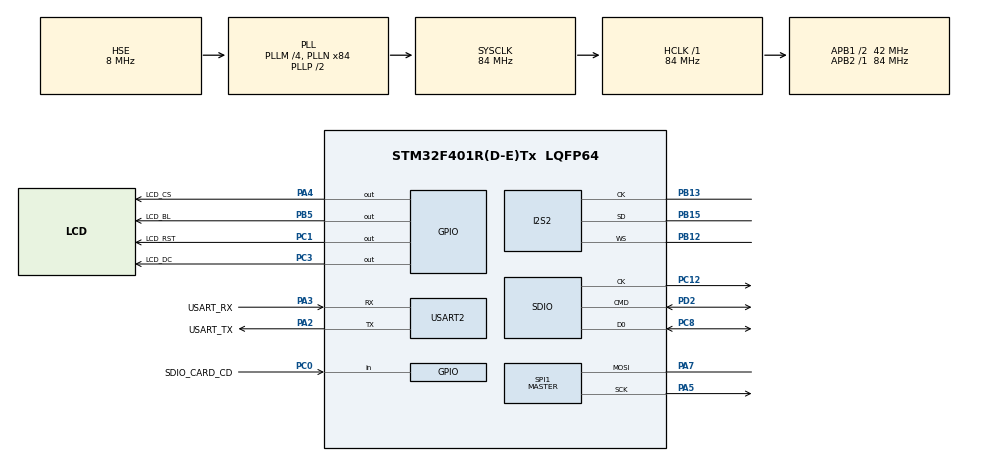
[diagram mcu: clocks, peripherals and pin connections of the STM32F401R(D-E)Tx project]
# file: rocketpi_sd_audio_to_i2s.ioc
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Dma.Request0=SPI1_TX
Dma.Request1=SDIO_RX
Dma.Request2=SDIO_TX
Dma.Request3=SPI2_TX
Dma.SDIO_RX.1.Direction=DMA_PERIPH_TO_MEMORY
Dma.SDIO_RX.1.FIFOMode=DMA_FIFOMODE_ENABLE
Dma.SDIO_RX.1.FIFOThreshold=DMA_FIFO_THRESHOLD_FULL
Dma.SDIO_RX.1.Instance=DMA2_Stream6
Dma.SDIO_RX.1.MemBurst=DMA_MBURST_INC4
Dma.SDIO_RX.1.MemDataAlignment=DMA_MDATAALIGN_WORD
Dma.SDIO_RX.1.MemInc=DMA_MINC_ENABLE
Dma.SDIO_RX.1.Mode=DMA_PFCTRL
Dma.SDIO_RX.1.PeriphBurst=DMA_PBURST_INC4
Dma.SDIO_RX.1.PeriphDataAlignment=DMA_PDATAALIGN_WORD
Dma.SDIO_RX.1.PeriphInc=DMA_PINC_DISABLE
Dma.SDIO_RX.1.Priority=DMA_PRIORITY_VERY_HIGH
Dma.SDIO_TX.2.Direction=DMA_MEMORY_TO_PERIPH
Dma.SDIO_TX.2.FIFOMode=DMA_FIFOMODE_ENABLE
Dma.SDIO_TX.2.FIFOThreshold=DMA_FIFO_THRESHOLD_FULL
Dma.SDIO_TX.2.Instance=DMA2_Stream3
Dma.SDIO_TX.2.MemBurst=DMA_MBURST_INC4
Dma.SDIO_TX.2.MemDataAlignment=DMA_MDATAALIGN_WORD
Dma.SDIO_TX.2.MemInc=DMA_MINC_ENABLE
Dma.SDIO_TX.2.Mode=DMA_PFCTRL
Dma.SDIO_TX.2.PeriphBurst=DMA_PBURST_INC4
Dma.SDIO_TX.2.PeriphDataAlignment=DMA_PDATAALIGN_WORD
Dma.SDIO_TX.2.PeriphInc=DMA_PINC_DISABLE
Dma.SDIO_TX.2.Priority=DMA_PRIORITY_VERY_HIGH
Dma.SPI1_TX.0.Direction=DMA_MEMORY_TO_PERIPH
Dma.SPI1_TX.0.FIFOMode=DMA_FIFOMODE_DISABLE
Dma.SPI1_TX.0.Instance=DMA2_Stream5
Dma.SPI1_TX.0.MemDataAlignment=DMA_MDATAALIGN_BYTE
Dma.SPI1_TX.0.MemInc=DMA_MINC_ENABLE
Dma.SPI1_TX.0.Mode=DMA_NORMAL
Dma.SPI1_TX.0.PeriphDataAlignment=DMA_PDATAALIGN_BYTE
Dma.SPI1_TX.0.PeriphInc=DMA_PINC_DISABLE
Dma.SPI1_TX.0.Priority=DMA_PRIORITY_HIGH
Dma.SPI2_TX.3.Direction=DMA_MEMORY_TO_PERIPH
Dma.SPI2_TX.3.FIFOMode=DMA_FIFOMODE_DISABLE
Dma.SPI2_TX.3.Instance=DMA1_Stream4
Dma.SPI2_TX.3.MemDataAlignment=DMA_MDATAALIGN_HALFWORD
Dma.SPI2_TX.3.MemInc=DMA_MINC_ENABLE
Dma.SPI2_TX.3.Mode=DMA_NORMAL
Dma.SPI2_TX.3.PeriphDataAlignment=DMA_PDATAALIGN_HALFWORD
Dma.SPI2_TX.3.PeriphInc=DMA_PINC_DISABLE
Dma.SPI2_TX.3.Priority=DMA_PRIORITY_LOW
FATFS.BSP.number=1
FATFS.USE_DMA_CODE_SD=1
FATFS._LFN_UNICODE=0
FATFS._MAX_LFN=64
FATFS._STRF_ENCODE=3
FATFS._USE_LFN=2
FATFS0.BSP.STBoard=false
FATFS0.BSP.api=Unknown
FATFS0.BSP.instance=PC0
FATFS0.BSP.ip=GPIO
FATFS0.BSP.mode=Input
FATFS0.BSP.name=Detect_SDIO
FATFS0.BSP.solution=PC0
I2S2.AudioFreq=I2S_AUDIOFREQ_16K
I2S2.ErrorAudioFreq=0.0 %
I2S2.FullDuplexMode=I2S_FULLDUPLEXMODE_DISABLE
I2S2.Instance=SPI$Index
I2S2.RealAudioFreq=16.0 KHz
I2S2.VirtualMode=I2S_MODE_MASTER
Mcu.Family=STM32F4
Mcu.Name=STM32F401R(D-E)Tx
Mcu.Package=LQFP64
NVIC.DMA1_Stream4_IRQn=true\:0\:0\:false\:false\:true\:false\:true\:true
NVIC.DMA2_Stream3_IRQn=true\:0\:0\:false\:false\:true\:false\:true\:true
NVIC.DMA2_Stream5_IRQn=true\:0\:0\:true\:false\:true\:false\:true\:true
NVIC.DMA2_Stream6_IRQn=true\:0\:0\:false\:false\:true\:false\:true\:true
NVIC.PriorityGroup=NVIC_PRIORITYGROUP_4
NVIC.SDIO_IRQn=true\:0\:0\:false\:false\:true\:true\:true\:true
NVIC.SPI1_IRQn=true\:0\:0\:true\:false\:true\:true\:true\:true
NVIC.SPI2_IRQn=true\:1\:0\:true\:false\:true\:true\:true\:true
PA13.GPIO_Label=TMS
PA13.Mode=Serial_Wire
PA13.Signal=SYS_JTMS-SWDIO
PA14.GPIO_Label=TCK
PA14.Mode=Serial_Wire
PA14.Signal=SYS_JTCK-SWCLK
PA2.GPIO_Label=USART_TX
PA2.GPIO_Mode=GPIO_MODE_AF_PP
PA2.GPIO_PuPd=GPIO_NOPULL
PA2.GPIO_Speed=GPIO_SPEED_FREQ_LOW
PA2.Mode=Asynchronous
PA2.Signal=USART2_TX
PA3.GPIO_Label=USART_RX
PA3.GPIO_Mode=GPIO_MODE_AF_PP
PA3.GPIO_PuPd=GPIO_NOPULL
PA3.GPIO_Speed=GPIO_SPEED_FREQ_LOW
PA3.Mode=Asynchronous
PA3.Signal=USART2_RX
PA4.GPIO_Label=LCD_CS
PA4.GPIO_Speed=GPIO_SPEED_FREQ_VERY_HIGH
PA4.PinState=GPIO_PIN_SET
PA4.Signal=GPIO_Output
PA5.Mode=Simplex_Bidirectional_Master
PA5.Signal=SPI1_SCK
PA7.Mode=Simplex_Bidirectional_Master
PA7.Signal=SPI1_MOSI
PB12.GPIO_Speed=GPIO_SPEED_FREQ_VERY_HIGH
PB12.Mode=Half_Duplex_Master
PB12.Signal=I2S2_WS
PB13.GPIO_Speed=GPIO_SPEED_FREQ_VERY_HIGH
PB13.Mode=Half_Duplex_Master
PB13.Signal=I2S2_CK
PB15.GPIO_Speed=GPIO_SPEED_FREQ_VERY_HIGH
PB15.Mode=Half_Duplex_Master
PB15.Signal=I2S2_SD
PB5.GPIO_Label=LCD_BL
PB5.Signal=GPIO_Output
PC0.GPIO_Label=SDIO_CARD_CD
PC0.Signal=GPIO_Input
PC1.GPIO_Label=LCD_RST
PC1.Signal=GPIO_Output
PC12.GPIO_PuPd=GPIO_PULLUP
PC12.Mode=SD_1_bit
PC12.Signal=SDIO_CK
PC3.GPIO_Label=LCD_DC
PC3.Signal=GPIO_Output
PC8.GPIO_PuPd=GPIO_PULLUP
PC8.Mode=SD_1_bit
PC8.Signal=SDIO_D0
PD2.GPIO_PuPd=GPIO_PULLUP
PD2.Mode=SD_1_bit
PD2.Signal=SDIO_CMD
PH0\ -\ OSC_IN.Mode=HSE-External-Oscillator
PH0\ -\ OSC_IN.Signal=RCC_OSC_IN
PH1\ -\ OSC_OUT.Mode=HSE-External-Oscillator
PH1\ -\ OSC_OUT.Signal=RCC_OSC_OUT
ProjectManager.HeapSize=0x1000
ProjectManager.StackSize=0x1000
ProjectManager.TargetToolchain=MDK-ARM V5.27
RCC.48MHZClocksFreq_Value=24000000
RCC.AHBFreq_Value=84000000
RCC.APB1CLKDivider=RCC_HCLK_DIV2
RCC.APB1Freq_Value=42000000
RCC.APB1TimFreq_Value=84000000
RCC.APB2Freq_Value=84000000
RCC.APB2TimFreq_Value=84000000
RCC.CortexFreq_Value=84000000
RCC.HCLKFreq_Value=84000000
RCC.HSE_VALUE=8000000
RCC.HSI_VALUE=16000000
RCC.LSE_VALUE=32768
RCC.PLLI2SN=128
RCC.PLLI2SR=5
RCC.PLLM=4
RCC.PLLN=84
RCC.PLLQ=7
RCC.PLLSourceVirtual=RCC_PLLSOURCE_HSE
RCC.SYSCLKFreq_VALUE=84000000
RCC.SYSCLKSource=RCC_SYSCLKSOURCE_PLLCLK
RCC.VCOOutputFreq_Value=168000000
SDIO.ClockDiv=0
SPI1.BaudRatePrescaler=SPI_BAUDRATEPRESCALER_2
SPI1.DataSize=SPI_DATASIZE_8BIT
SPI1.Direction=SPI_DIRECTION_1LINE
SPI1.Mode=SPI_MODE_MASTER
SPI1.VirtualType=VM_MASTER
USART2.VirtualMode=VM_ASYNC
VP_CRC_VS_CRC.Mode=CRC_Activate
VP_FATFS_VS_SDIO.Mode=SDIO
board=NUCLEO-F401RE

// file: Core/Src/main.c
/* USER CODE BEGIN Header */
/**
  ******************************************************************************
  * @file           : main.c
  * @brief          : Main program body
  ******************************************************************************
  * @attention
  *
  * Copyright (c) 2025 STMicroelectronics.
  * All rights reserved.
  *
  * This software is licensed under terms that can be found in the LICENSE file
  * in the root directory of this software component.
  * If no LICENSE file comes with this software, it is provided AS-IS.
  *
  ******************************************************************************
  */
/* USER CODE END Header */
#include "main.h"
#include "crc.h"
#include "dma.h"
#include "fatfs.h"
#include "i2s.h"
#include "sdio.h"
#include "spi.h"
#include "usart.h"
#include "gpio.h"

/* USER CODE BEGIN Includes */
#include <ctype.h>
#include <stdbool.h>
#include <stdarg.h>
#include <math.h>
#include <stdio.h>
#include <string.h>
#include "audio.h"
#include "st7789.h"
/* USER CODE END Includes */

/* USER CODE BEGIN PTD */
typedef enum
{
  AUDIO_PLAYBACK_STATE_IDLE = 0,
  AUDIO_PLAYBACK_STATE_RUNNING,
  AUDIO_PLAYBACK_STATE_DONE,
  AUDIO_PLAYBACK_STATE_ERROR
} audio_playback_state_t;

typedef struct
{
  uint32_t next_index;
  uint32_t samples_remaining;
  audio_playback_state_t state;
} audio_playback_ctrl_t;

typedef enum
{
  AUDIO_SD_STATE_IDLE = 0,
  AUDIO_SD_STATE_PLAYING,
  AUDIO_SD_STATE_DONE,
  AUDIO_SD_STATE_ERROR
} audio_sd_state_t;

typedef struct
{
  FIL file;
  UINT half_bytes;
  UINT frame_bytes;
  UINT bytes_next;
  uint8_t *buf0;
  uint8_t *buf1;
  uint8_t *read_buf;
  uint8_t mounted;
  uint8_t file_opened;
  audio_sd_state_t state;
  FRESULT last_res;
  HAL_StatusTypeDef last_hal;
} audio_sd_playback_t;
/* USER CODE END PTD */

/* USER CODE BEGIN PD */
#ifndef _USE_MKFS
#define _USE_MKFS 1
#endif

#if (_USE_MKFS == 1)
#define FATFS_MKFS_BUFFER_SIZE 4096U
#endif
#define FATFS_SPEED_TEST_BUFFER_SIZE 4096U

#define AUDIO_DMA_MAX_TRANSFER_SAMPLES 65535U
#define AUDIO_FILE_DIRECTORY        "audio"
#define AUDIO_FILE_NAME             "audio.bin"
#define AUDIO_FILE_PATH_MAX         64U
#define AUDIO_STREAM_BUFFER_BYTES   5120U

#define AUDIO_VOLUME_PERCENT        100U   /* 0-100%，用于数字音量缩放 */
#define AUDIO_VOLUME_BUFFER_SAMPLES 2048U  /* 内置音轨播放时的临时缓冲区大小（采样数） */

#define SPECTRUM_BIN_COUNT          40U
#define SPECTRUM_WINDOW_FRAMES      256U
#define SPECTRUM_DRAW_INTERVAL_MS   40U
#define SPECTRUM_MAX_HEIGHT         (ST7789_HIGHT - 10U)
#define SPECTRUM_BAR_GAP            2U
#define SPECTRUM_SMOOTH_ALPHA       0.30f
#define SPECTRUM_DECAY_ALPHA        0.90f
#define SPECTRUM_PEAK_INIT          2000.0f
#ifndef M_PI
#define M_PI                        3.1415926f
#endif
/* USER CODE END PD */

/* USER CODE BEGIN PV */
static volatile audio_playback_ctrl_t audio_ctrl = {0};
static uint16_t audio_sd_buffer[AUDIO_STREAM_BUFFER_BYTES / sizeof(uint16_t)];
static audio_sd_playback_t audio_sd_ctx = {0};
static volatile uint8_t audio_stream_from_sd = 0U;
static volatile uint8_t audio_sd_dma_done = 0U;
/* 记录当前 I2S 外设是否已经初始化并处于工作状态 */
static uint8_t audio_output_active = 0U;
static uint16_t audio_volume_q15 = 0U;
static int16_t audio_volume_buffer[AUDIO_VOLUME_BUFFER_SAMPLES];
static float spectrum_coeff[SPECTRUM_BIN_COUNT];
static float spectrum_smooth[SPECTRUM_BIN_COUNT];
static uint16_t spectrum_levels[SPECTRUM_BIN_COUNT];
static float spectrum_peak_avg = SPECTRUM_PEAK_INIT;
static uint32_t spectrum_last_draw_ms = 0U;
typedef struct
{
  float pos;
  uint16_t color;
} spectrum_stop_t;
static const spectrum_stop_t spectrum_gradient[] = {
  {0.0f, BLUE},
  {0.25f, CYAN},
  {0.50f, GREEN},
  {0.75f, YELLOW},
  {1.0f, RED}
};
/* USER CODE END PV */

void SystemClock_Config(void);
/* USER CODE BEGIN PFP */
static void fatfs_speed_test(uint32_t kilobytes);
static HAL_StatusTypeDef audio_start_next_chunk(void);
static void audio_sd_stop_and_cleanup(void);
static FRESULT audio_sd_start_playback(const char *directory,
                                      const char *file_name,
                                      uint8_t *work_buffer,
                                      UINT work_buffer_bytes);
static void audio_sd_process_playback(void);
static void audio_output_force_idle(void);
static void audio_output_ensure_enabled(void);
static void spectrum_init(void);
static void spectrum_update_from_buffer(const int16_t *samples, size_t sample_count);
static void spectrum_draw_if_due(void);
static uint16_t spectrum_lerp_color(uint16_t c0, uint16_t c1, float t);
static uint16_t spectrum_color_for_bin(uint32_t index);
static uint16_t audio_compute_volume_q15(void);
static int16_t audio_apply_volume_to_sample(int16_t sample, uint16_t gain_q15);
static void audio_apply_volume_to_buffer(int16_t *buffer, size_t samples, uint16_t gain_q15);
/* USER CODE END PFP */

/* USER CODE BEGIN 0 */
/* 将 I2S/DMA 完全停止并把引脚拉至静音状态 */
static void audio_output_force_idle(void)
{
  (void)HAL_I2S_DMAStop(&hi2s2);

  if (audio_output_active)
  {
    (void)HAL_I2S_DeInit(&hi2s2);
    audio_output_active = 0U;
  }

  __HAL_RCC_GPIOB_CLK_ENABLE();
  GPIO_InitTypeDef GPIO_InitStruct = {0};
  GPIO_InitStruct.Pin = GPIO_PIN_12 | GPIO_PIN_13 | GPIO_PIN_15;
  GPIO_InitStruct.Mode = GPIO_MODE_OUTPUT_PP;
  GPIO_InitStruct.Pull = GPIO_PULLDOWN;
  GPIO_InitStruct.Speed = GPIO_SPEED_FREQ_LOW;
  HAL_GPIO_Init(GPIOB, &GPIO_InitStruct);
  HAL_GPIO_WritePin(GPIOB, GPIO_PIN_12 | GPIO_PIN_13 | GPIO_PIN_15, GPIO_PIN_RESET);
}

/* 若 I2S 处于关闭状态则重新初始化供输出使用 */
static void audio_output_ensure_enabled(void)
{
  if (audio_output_active)
  {
    return;
  }

  MX_I2S2_Init();
  audio_output_active = 1U;
}

static uint16_t audio_compute_volume_q15(void)
{
  uint32_t percent = AUDIO_VOLUME_PERCENT;
  if (percent > 100U)
  {
    percent = 100U;
  }

  return (uint16_t)(((percent * 32767U) + 50U) / 100U);
}

static int16_t audio_apply_volume_to_sample(int16_t sample, uint16_t gain_q15)
{
  int32_t scaled = (int32_t)sample * (int32_t)gain_q15;
  scaled += (1 << 14); /* 四舍五入 */
  scaled >>= 15;

  if (scaled > 32767)
  {
    scaled = 32767;
  }
  else if (scaled < -32768)
  {
    scaled = -32768;
  }

  return (int16_t)scaled;
}

static void audio_apply_volume_to_buffer(int16_t *buffer, size_t samples, uint16_t gain_q15)
{
  if ((buffer == NULL) || (samples == 0U))
  {
    return;
  }

  if (gain_q15 == 0U)
  {
    memset(buffer, 0, samples * sizeof(int16_t));
    return;
  }

  if (gain_q15 >= 32767U)
  {
    return; /* 100% 音量，无需处理 */
  }

  for (size_t i = 0U; i < samples; ++i)
  {
    buffer[i] = audio_apply_volume_to_sample(buffer[i], gain_q15);
  }
}

static HAL_StatusTypeDef audio_start_next_chunk(void)
{
  if (audio_ctrl.samples_remaining == 0U)
  {
    audio_ctrl.state = AUDIO_PLAYBACK_STATE_DONE;
    return HAL_OK;
  }

  uint32_t chunk_limit = (AUDIO_VOLUME_BUFFER_SAMPLES < AUDIO_DMA_MAX_TRANSFER_SAMPLES) ?
                         AUDIO_VOLUME_BUFFER_SAMPLES :
                         AUDIO_DMA_MAX_TRANSFER_SAMPLES;
  uint32_t chunk = (audio_ctrl.samples_remaining > chunk_limit) ?
                   chunk_limit :
                   audio_ctrl.samples_remaining;

  const int16_t *chunk_ptr = (const int16_t *)&audio_track[audio_ctrl.next_index];
  memcpy(audio_volume_buffer, chunk_ptr, chunk * sizeof(int16_t));
  audio_apply_volume_to_buffer(audio_volume_buffer, chunk, audio_volume_q15);
  HAL_StatusTypeDef status = HAL_I2S_Transmit_DMA(&hi2s2,
                                                  (uint16_t *)audio_volume_buffer,
                                                  (uint16_t)chunk);

  if (status == HAL_OK)
  {
    audio_ctrl.next_index += chunk;
    audio_ctrl.samples_remaining -= chunk;
    audio_ctrl.state = AUDIO_PLAYBACK_STATE_RUNNING;
  }

  return status;
}

/* stop_output=1 时连同 I2S 一起关闭，0 仅重置文件/缓存状态 */
static void audio_sd_stop_and_cleanup_ex(uint8_t stop_output)
{
  if (stop_output)
  {
    audio_output_force_idle();
  }

  if (audio_sd_ctx.file_opened)
  {
    f_close(&audio_sd_ctx.file);
    audio_sd_ctx.file_opened = 0U;
  }

  if (audio_sd_ctx.mounted)
  {
    f_mount(NULL, (TCHAR const*)SDPath, 0);
    audio_sd_ctx.mounted = 0U;
  }

  audio_stream_from_sd = 0U;
}

static void audio_sd_stop_and_cleanup(void)
{
  audio_sd_stop_and_cleanup_ex(1U);
}

static FRESULT audio_sd_start_playback(const char *directory,
                                      const char *file_name,
                                      uint8_t *work_buffer,
                                      UINT work_buffer_bytes)
{
  audio_volume_q15 = audio_compute_volume_q15();
  const UINT frame_bytes = (UINT)(AUDIO_NUM_CHANNELS * sizeof(int16_t));
  if ((work_buffer == NULL) ||
      (work_buffer_bytes < (2U * frame_bytes)) ||
      ((work_buffer_bytes % frame_bytes) != 0U))
  {
    return FR_INVALID_PARAMETER;
  }

  if (audio_sd_ctx.state == AUDIO_SD_STATE_PLAYING)
  {
    return FR_LOCKED;
  }

  audio_sd_stop_and_cleanup_ex(0U); /* 仅重置 FatFs 句柄，保留 I2S 以便随后立即启动播放 */
  memset(&audio_sd_ctx, 0, sizeof(audio_sd_ctx));

  UINT half_bytes = work_buffer_bytes / 2U;
  const UINT max_bytes = AUDIO_DMA_MAX_TRANSFER_SAMPLES * sizeof(uint16_t);
  if (half_bytes > max_bytes)
  {
    half_bytes = max_bytes;
  }
  const UINT align = (512U > frame_bytes) ? 512U : frame_bytes;
  half_bytes -= (half_bytes % align);
  if (half_bytes == 0U)
  {
    return FR_INVALID_PARAMETER;
  }

  audio_sd_ctx.buf0 = work_buffer;
  audio_sd_ctx.buf1 = work_buffer + half_bytes;
  audio_sd_ctx.read_buf = audio_sd_ctx.buf1;
  audio_sd_ctx.half_bytes = half_bytes;
  audio_sd_ctx.frame_bytes = frame_bytes;
  audio_sd_ctx.state = AUDIO_SD_STATE_IDLE;

  char file_path[AUDIO_FILE_PATH_MAX];
  int written = ((directory != NULL) && (directory[0] != '\0')) ?
                snprintf(file_path, sizeof(file_path), "%s/%s", directory, file_name) :
                snprintf(file_path, sizeof(file_path), "%s", file_name);
  if ((written <= 0) || ((size_t)written >= sizeof(file_path)))
  {
    return FR_INVALID_NAME;
  }

  FRESULT res = f_mount(&SDFatFS, (TCHAR const*)SDPath, 1);
  if (res != FR_OK)
  {
    printf("audio(fs): mount failed (%d)\r\n", (int)res);
    audio_sd_ctx.last_res = res;
    audio_sd_ctx.state = AUDIO_SD_STATE_ERROR;
    return res;
  }
  audio_sd_ctx.mounted = 1U;

  res = f_open(&audio_sd_ctx.file, file_path, FA_READ);
  if (res != FR_OK)
  {
    printf("audio(fs): open %s failed (%d)\r\n", file_path, (int)res);
    audio_sd_ctx.last_res = res;
    audio_sd_ctx.state = AUDIO_SD_STATE_ERROR;
    audio_sd_stop_and_cleanup();
    return res;
  }
  audio_sd_ctx.file_opened = 1U;

  UINT bytes0 = 0U;
  UINT bytes1 = 0U;
  res = f_read(&audio_sd_ctx.file, audio_sd_ctx.buf0, half_bytes, &bytes0);
  if (res != FR_OK)
  {
    printf("audio(fs): first read failed (%d)\r\n", (int)res);
    audio_sd_ctx.last_res = res;
    audio_sd_ctx.state = AUDIO_SD_STATE_ERROR;
    audio_sd_stop_and_cleanup();
    return res;
  }
  bytes0 -= (bytes0 % frame_bytes);
  if (bytes0 > 0U)
  {
    audio_apply_volume_to_buffer((int16_t *)audio_sd_ctx.buf0,
                              bytes0 / sizeof(int16_t),
                              audio_volume_q15);
  }
  if (bytes0 == 0U)
  {
    printf("audio(fs): file empty\r\n");
    audio_sd_ctx.state = AUDIO_SD_STATE_DONE;
    audio_sd_stop_and_cleanup();
    return FR_OK;
  }

  res = f_read(&audio_sd_ctx.file, audio_sd_ctx.buf1, half_bytes, &bytes1);
  if (res != FR_OK)
  {
    printf("audio(fs): second read failed (%d)\r\n", (int)res);
    audio_sd_ctx.last_res = res;
    audio_sd_ctx.state = AUDIO_SD_STATE_ERROR;
    audio_sd_stop_and_cleanup();
    return res;
  }
  bytes1 -= (bytes1 % frame_bytes);
  if (bytes1 > 0U)
  {
    audio_apply_volume_to_buffer((int16_t *)audio_sd_ctx.buf1,
                              bytes1 / sizeof(int16_t),
                              audio_volume_q15);
  }
  audio_sd_ctx.bytes_next = bytes1;

  audio_stream_from_sd = 1U;
  audio_sd_dma_done = 0U;
  audio_output_ensure_enabled(); /* SD 播放准备驱动 DMA 前确保 I2S 已启动 */
  HAL_StatusTypeDef hal = HAL_I2S_Transmit_DMA(&hi2s2,
                                               (uint16_t *)audio_sd_ctx.buf0,
                                               (uint16_t)(bytes0 / sizeof(uint16_t)));
  if (hal != HAL_OK)
  {
    printf("audio(fs): start DMA failed (%ld)\r\n", (long)hal);
    audio_sd_ctx.last_res = FR_INT_ERR;
    audio_sd_ctx.last_hal = hal;
    audio_sd_ctx.state = AUDIO_SD_STATE_ERROR;
    audio_sd_stop_and_cleanup();
    return FR_INT_ERR;
  }

  spectrum_update_from_buffer((const int16_t *)audio_sd_ctx.buf0,
                            bytes0 / sizeof(uint16_t));

  audio_sd_ctx.state = AUDIO_SD_STATE_PLAYING;
  return FR_OK;
}

static void audio_sd_process_playback(void)
{
  if (audio_sd_ctx.state != AUDIO_SD_STATE_PLAYING)
  {
    return;
  }

  if (audio_sd_dma_done == 0U)
  {
    return;
  }
  audio_sd_dma_done = 0U;

  if (audio_sd_ctx.bytes_next == 0U)
  {
    HAL_I2S_DMAStop(&hi2s2);
    audio_sd_ctx.state = AUDIO_SD_STATE_DONE;
    audio_sd_stop_and_cleanup();
    return;
  }

  uint8_t *play_buf = audio_sd_ctx.read_buf;
  UINT play_bytes = audio_sd_ctx.bytes_next;
  audio_sd_ctx.read_buf = (play_buf == audio_sd_ctx.buf0) ? audio_sd_ctx.buf1 : audio_sd_ctx.buf0;
  HAL_StatusTypeDef hal = HAL_I2S_Transmit_DMA(&hi2s2,
                                               (uint16_t *)play_buf,
                                               (uint16_t)(play_bytes / sizeof(uint16_t)));
  if (hal != HAL_OK)
  {
    printf("audio(fs): DMA start failed (%ld)\r\n", (long)hal);
    audio_sd_ctx.last_res = FR_INT_ERR;
    audio_sd_ctx.last_hal = hal;
    audio_sd_ctx.state = AUDIO_SD_STATE_ERROR;
    audio_sd_stop_and_cleanup();
    return;
  }

  spectrum_update_from_buffer((const int16_t *)play_buf, play_bytes / sizeof(uint16_t));

  UINT bytes_read = 0U;
  FRESULT res = f_read(&audio_sd_ctx.file, audio_sd_ctx.read_buf, audio_sd_ctx.half_bytes, &bytes_read);
  if (res != FR_OK)
  {
    printf("audio(fs): read failed (%d)\r\n", (int)res);
    audio_sd_ctx.last_res = res;
    audio_sd_ctx.state = AUDIO_SD_STATE_ERROR;
    audio_sd_stop_and_cleanup();
    HAL_I2S_DMAStop(&hi2s2);
    return;
  }
  bytes_read -= (bytes_read % audio_sd_ctx.frame_bytes);
  if (bytes_read > 0U)
  {
    audio_apply_volume_to_buffer((int16_t *)audio_sd_ctx.read_buf,
                              bytes_read / sizeof(int16_t),
                              audio_volume_q15);
  }
  audio_sd_ctx.bytes_next = bytes_read;
}

static void spectrum_init(void)
{
  const float bin_width_hz = ((float)AUDIO_SAMPLE_RATE_HZ * 0.5f) / (float)SPECTRUM_BIN_COUNT;

  for (uint32_t i = 0U; i < SPECTRUM_BIN_COUNT; ++i)
  {
    float freq = bin_width_hz * (float)(i + 1U);
    float omega = 2.0f * (float)M_PI * freq / (float)AUDIO_SAMPLE_RATE_HZ;
    spectrum_coeff[i] = 2.0f * cosf(omega);
    spectrum_smooth[i] = 0.0f;
    spectrum_levels[i] = 0U;
  }

  spectrum_peak_avg = SPECTRUM_PEAK_INIT;
  spectrum_last_draw_ms = HAL_GetTick();
}

static void spectrum_update_from_buffer(const int16_t *samples, size_t sample_count)
{
  if ((samples == NULL) || (sample_count < AUDIO_NUM_CHANNELS))
  {
    return;
  }

  size_t frames = sample_count / AUDIO_NUM_CHANNELS;
  size_t window = (frames < (size_t)SPECTRUM_WINDOW_FRAMES) ? frames : (size_t)SPECTRUM_WINDOW_FRAMES;
  if (window < 8U)
  {
    return;
  }

  for (uint32_t bin = 0U; bin < SPECTRUM_BIN_COUNT; ++bin)
  {
    float coeff = spectrum_coeff[bin];
    float q0 = 0.0f;
    float q1 = 0.0f;
    float q2 = 0.0f;

    for (size_t n = 0U; n < window; ++n)
    {
      float x = (float)samples[n * AUDIO_NUM_CHANNELS];
      q0 = (coeff * q1) - q2 + x;
      q2 = q1;
      q1 = q0;
    }

    float power = (q1 * q1) + (q2 * q2) - (coeff * q1 * q2);
    if (power < 0.0f)
    {
      power = 0.0f;
    }
    float mag = sqrtf(power) / (float)window;

    spectrum_peak_avg = (SPECTRUM_DECAY_ALPHA * spectrum_peak_avg) +
                        ((1.0f - SPECTRUM_DECAY_ALPHA) * mag);
    float scaled = (mag * (float)SPECTRUM_MAX_HEIGHT) / (spectrum_peak_avg + 1.0f);
    if (scaled < 0.0f)
    {
      scaled = 0.0f;
    }
    if (scaled > (float)SPECTRUM_MAX_HEIGHT)
    {
      scaled = (float)SPECTRUM_MAX_HEIGHT;
    }

    float smooth = (1.0f - SPECTRUM_SMOOTH_ALPHA) * spectrum_smooth[bin] +
                   (SPECTRUM_SMOOTH_ALPHA * scaled);
    spectrum_smooth[bin] = smooth;
    spectrum_levels[bin] = (uint16_t)smooth;
  }
}

static void spectrum_draw_if_due(void)
{
  uint32_t now = HAL_GetTick();
  if ((now - spectrum_last_draw_ms) < SPECTRUM_DRAW_INTERVAL_MS)
  {
    return;
  }
  spectrum_last_draw_ms = now;

  const uint16_t bar_width = ST7789_WIDTH / SPECTRUM_BIN_COUNT;
  uint16_t usable_width = (bar_width > SPECTRUM_BAR_GAP) ? (bar_width - SPECTRUM_BAR_GAP) : bar_width;
  if (usable_width == 0U)
  {
    usable_width = 1U;
  }
  const uint16_t y_base = ST7789_HIGHT - 1U;

  for (uint32_t i = 0U; i < SPECTRUM_BIN_COUNT; ++i)
  {
    uint16_t h = spectrum_levels[i];
    uint16_t x0 = (uint16_t)(i * bar_width);
    x0 = (uint16_t)(x0 + ((bar_width - usable_width) / 2U));
    uint16_t x1 = x0 + usable_width - 1U;
    if (x1 >= ST7789_WIDTH)
    {
      x1 = ST7789_WIDTH - 1U;
    }

    ST7789_FillRect(x0, 0U, x1, y_base, BLACK);

    if (h > 0U)
    {
      uint16_t y0 = (h >= ST7789_HIGHT) ? 0U : (uint16_t)(ST7789_HIGHT - h);
      uint16_t color = spectrum_color_for_bin(i);
      ST7789_FillRect(x0, y0, x1, y_base, color);
    }
  }
}

static uint16_t spectrum_lerp_color(uint16_t c0, uint16_t c1, float t)
{
  if (t < 0.0f) t = 0.0f;
  if (t > 1.0f) t = 1.0f;

  float r0 = (float)((c0 >> 11) & 0x1FU);
  float g0 = (float)((c0 >> 5) & 0x3FU);
  float b0 = (float)(c0 & 0x1FU);

  float r1 = (float)((c1 >> 11) & 0x1FU);
  float g1 = (float)((c1 >> 5) & 0x3FU);
  float b1 = (float)(c1 & 0x1FU);

  float r = r0 + (r1 - r0) * t;
  float g = g0 + (g1 - g0) * t;
  float b = b0 + (b1 - b0) * t;

  uint16_t ri = (uint16_t)(r + 0.5f);
  uint16_t gi = (uint16_t)(g + 0.5f);
  uint16_t bi = (uint16_t)(b + 0.5f);

  if (ri > 0x1F) ri = 0x1F;
  if (gi > 0x3F) gi = 0x3F;
  if (bi > 0x1F) bi = 0x1F;

  return (uint16_t)((ri << 11) | (gi << 5) | bi);
}

static uint16_t spectrum_color_for_bin(uint32_t index)
{
  const size_t stop_count = sizeof(spectrum_gradient) / sizeof(spectrum_gradient[0]);
  if (stop_count == 0U)
  {
    return WHITE;
  }

  float t = (SPECTRUM_BIN_COUNT > 1U) ?
            ((float)index / (float)(SPECTRUM_BIN_COUNT - 1U)) : 0.0f;
  if (t <= spectrum_gradient[0].pos)
  {
    return spectrum_gradient[0].color;
  }
  if (t >= spectrum_gradient[stop_count - 1U].pos)
  {
    return spectrum_gradient[stop_count - 1U].color;
  }

  for (size_t i = 0U; i < (stop_count - 1U); ++i)
  {
    float p0 = spectrum_gradient[i].pos;
    float p1 = spectrum_gradient[i + 1U].pos;
    if ((t >= p0) && (t <= p1))
    {
      float local_t = (p1 > p0) ? ((t - p0) / (p1 - p0)) : 0.0f;
      return spectrum_lerp_color(spectrum_gradient[i].color,
                                spectrum_gradient[i + 1U].color,
                                local_t);
    }
  }

  return spectrum_gradient[stop_count - 1U].color;
}
/* USER CODE END 0 */

int main(void)
{

  /* MCU Configuration--------------------------------------------------------*/

  /* Reset of all peripherals, Initializes the Flash interface and the Systick. */
  HAL_Init();

  /* Configure the system clock */
  SystemClock_Config();

  /* Initialize all configured peripherals */
  MX_GPIO_Init();
  MX_DMA_Init();
  MX_USART2_UART_Init();
  MX_SPI1_Init();
  MX_SDIO_SD_Init();
  MX_FATFS_Init();
  MX_CRC_Init();
  MX_I2S2_Init();
  /* USER CODE BEGIN 2 */
  audio_output_active = 1U;
  audio_output_force_idle(); /* CubeMX 先初始化 I2S，这里立即关掉避免开机噪声 */
  HAL_Delay(200);
  ST7789_Init();
  ST7789_Clear(BLACK);
  spectrum_init();

  const uint32_t speed_test_kbytes = 512U; /* Adjust size to profile different transfers */
  fatfs_speed_test(speed_test_kbytes);

  FRESULT audio_res = audio_sd_start_playback(AUDIO_FILE_DIRECTORY,
                                             AUDIO_FILE_NAME,
                                             (uint8_t *)audio_sd_buffer,
                                             (UINT)sizeof(audio_sd_buffer));
  if (audio_res != FR_OK)
  {
    printf("audio(fs): playback failed (%d)\r\n", (int)audio_res);
  }
  uint8_t audio_playback_reported = 0U;
  /* USER CODE END 2 */

  /* Infinite loop */
  while (1)
  {

    /* USER CODE BEGIN 3 */
    /* 播放状态机：SD DMA 半双缓冲 + 频谱刷新 */
    audio_sd_process_playback();
    spectrum_draw_if_due();

    if (audio_playback_reported == 0U)
    {
      if (audio_sd_ctx.state == AUDIO_SD_STATE_DONE)
      {
        printf("audio(fs): playback done\r\n");
        audio_playback_reported = 1U;
      }
      else if (audio_sd_ctx.state == AUDIO_SD_STATE_ERROR)
      {
        printf("audio(fs): playback error (%d, hal %ld)\r\n",
               (int)audio_sd_ctx.last_res, (long)audio_sd_ctx.last_hal);
        audio_playback_reported = 1U;
      }
    }
  }
  /* USER CODE END 3 */
}

void SystemClock_Config(void)
{
  RCC_OscInitTypeDef RCC_OscInitStruct = {0};
  RCC_ClkInitTypeDef RCC_ClkInitStruct = {0};

  /** Configure the main internal regulator output voltage
  */
  __HAL_RCC_PWR_CLK_ENABLE();
  __HAL_PWR_VOLTAGESCALING_CONFIG(PWR_REGULATOR_VOLTAGE_SCALE2);

  /** Initializes the RCC Oscillators according to the specified parameters
  * in the RCC_OscInitTypeDef structure.
  */
  RCC_OscInitStruct.OscillatorType = RCC_OSCILLATORTYPE_HSE;
  RCC_OscInitStruct.HSEState = RCC_HSE_ON;
  RCC_OscInitStruct.PLL.PLLState = RCC_PLL_ON;
  RCC_OscInitStruct.PLL.PLLSource = RCC_PLLSOURCE_HSE;
  RCC_OscInitStruct.PLL.PLLM = 4;
  RCC_OscInitStruct.PLL.PLLN = 84;
  RCC_OscInitStruct.PLL.PLLP = RCC_PLLP_DIV2;
  RCC_OscInitStruct.PLL.PLLQ = 7;
  if (HAL_RCC_OscConfig(&RCC_OscInitStruct) != HAL_OK)
  {
    Error_Handler();
  }

  /** Initializes the CPU, AHB and APB buses clocks
  */
  RCC_ClkInitStruct.ClockType = RCC_CLOCKTYPE_HCLK|RCC_CLOCKTYPE_SYSCLK
                              |RCC_CLOCKTYPE_PCLK1|RCC_CLOCKTYPE_PCLK2;
  RCC_ClkInitStruct.SYSCLKSource = RCC_SYSCLKSOURCE_PLLCLK;
  RCC_ClkInitStruct.AHBCLKDivider = RCC_SYSCLK_DIV1;
  RCC_ClkInitStruct.APB1CLKDivider = RCC_HCLK_DIV2;
  RCC_ClkInitStruct.APB2CLKDivider = RCC_HCLK_DIV1;

  if (HAL_RCC_ClockConfig(&RCC_ClkInitStruct, FLASH_LATENCY_2) != HAL_OK)
  {
    Error_Handler();
  }
}

/* USER CODE BEGIN 4 */

static void fatfs_speed_test(uint32_t kilobytes)
{
  const char speed_file[] = "sd_speed.bin";
  FRESULT res;
  UINT bytes_io = 0U;
  uint32_t total_bytes = 0U;
  uint32_t remaining = 0U;
  uint32_t start_tick = 0U;
  uint32_t elapsed_ms = 0U;
  uint32_t speed_kbs = 0U;
  uint8_t is_mounted = 0U;
  uint8_t file_opened = 0U;
  uint8_t file_created = 0U;
  static uint8_t transfer_buffer[FATFS_SPEED_TEST_BUFFER_SIZE];

  if (kilobytes == 0U)
  {
    printf("fatfs speed test: size parameter must be > 0\r\n");
    return;
  }

  if (kilobytes > (UINT32_MAX / 1024U))
  {
    printf("fatfs speed test: size too large\r\n");
    return;
  }

  total_bytes = kilobytes * 1024U;

  for (uint32_t i = 0U; i < sizeof(transfer_buffer); ++i)
  {
    transfer_buffer[i] = (uint8_t)(i & 0xFFU);
  }

  printf("fatfs speed test: mounting %s\r\n", SDPath);
  res = f_mount(&SDFatFS, (TCHAR const*)SDPath, 1);
  if (res != FR_OK)
  {
    printf("fatfs speed test: mount failed (%d)\r\n", (int)res);
    return;
  }
  is_mounted = 1U;

  res = f_open(&SDFile, speed_file, FA_CREATE_ALWAYS | FA_WRITE);
  if (res != FR_OK)
  {
    printf("fatfs speed test: open for write failed (%d)\r\n", (int)res);
    goto cleanup;
  }
  file_opened = 1U;
  file_created = 1U;

  printf("fatfs speed test: writing %lu KB\r\n", (unsigned long)kilobytes);
  remaining = total_bytes;
  start_tick = HAL_GetTick();
  while (remaining > 0U)
  {
    uint32_t chunk = (remaining > sizeof(transfer_buffer)) ? (uint32_t)sizeof(transfer_buffer) : remaining;
    res = f_write(&SDFile, transfer_buffer, chunk, &bytes_io);
    if ((res != FR_OK) || (bytes_io != chunk))
    {
      printf("fatfs speed test: write error (%d)\r\n", (int)res);
      goto cleanup;
    }
    remaining -= chunk;
  }

  res = f_sync(&SDFile);
  if (res != FR_OK)
  {
    printf("fatfs speed test: sync failed (%d)\r\n", (int)res);
    goto cleanup;
  }
  elapsed_ms = HAL_GetTick() - start_tick;
  speed_kbs = (elapsed_ms > 0U) ? (uint32_t)(((uint64_t)total_bytes * 1000ULL) / ((uint64_t)elapsed_ms * 1024ULL)) : 0U;
  printf("fatfs speed test: write done in %lu ms (%lu KB/s)\r\n",
         (unsigned long)elapsed_ms, (unsigned long)speed_kbs);

  f_close(&SDFile);
  file_opened = 0U;

  res = f_open(&SDFile, speed_file, FA_READ);
  if (res != FR_OK)
  {
    printf("fatfs speed test: open for read failed (%d)\r\n", (int)res);
    goto cleanup;
  }
  file_opened = 1U;

  printf("fatfs speed test: reading %lu KB\r\n", (unsigned long)kilobytes);
  remaining = total_bytes;
  start_tick = HAL_GetTick();
  while (remaining > 0U)
  {
    uint32_t chunk = (remaining > sizeof(transfer_buffer)) ? (uint32_t)sizeof(transfer_buffer) : remaining;
    res = f_read(&SDFile, transfer_buffer, chunk, &bytes_io);
    if (res != FR_OK)
    {
      printf("fatfs speed test: read error (%d)\r\n", (int)res);
      goto cleanup;
    }
    if (bytes_io == 0U)
    {
      printf("fatfs speed test: unexpected end of file\r\n");
      goto cleanup;
    }
    remaining -= bytes_io;
  }
  elapsed_ms = HAL_GetTick() - start_tick;
  speed_kbs = (elapsed_ms > 0U) ? (uint32_t)(((uint64_t)total_bytes * 1000ULL) / ((uint64_t)elapsed_ms * 1024ULL)) : 0U;
  printf("fatfs speed test: read done in %lu ms (%lu KB/s)\r\n",
         (unsigned long)elapsed_ms, (unsigned long)speed_kbs);

  f_close(&SDFile);
  file_opened = 0U;

  printf("fatfs speed test: removing %s\r\n", speed_file);
  res = f_unlink(speed_file);
  if (res == FR_OK)
  {
    file_created = 0U;
  }
  else
  {
    printf("fatfs speed test: remove failed (%d)\r\n", (int)res);
  }

cleanup:
  if (file_opened)
  {
    f_close(&SDFile);
  }

  if (is_mounted && file_created)
  {
    FRESULT unlink_res = f_unlink(speed_file);
    if (unlink_res != FR_OK)
    {
      printf("fatfs speed test: cleanup remove %s failed (%d)\r\n", speed_file, (int)unlink_res);
    }
  }

  if (is_mounted)
  {
    f_mount(NULL, (TCHAR const*)SDPath, 0);
    printf("fatfs speed test: unmounted\r\n");
  }
}

/* I2S DMA 传输完成回调：区分 SD 流/内置音轨的续传逻辑 */
void HAL_I2S_TxCpltCallback(I2S_HandleTypeDef *hi2s)
{
  if (hi2s->Instance != hi2s2.Instance)
  {
    return;
  }

  if (audio_stream_from_sd)
  {
    audio_sd_dma_done = 1U;
    return;
  }

  if (audio_ctrl.samples_remaining == 0U)
  {
    audio_ctrl.state = AUDIO_PLAYBACK_STATE_DONE;
    audio_output_force_idle();
    return;
  }

  if (audio_start_next_chunk() != HAL_OK)
  {
    audio_ctrl.state = AUDIO_PLAYBACK_STATE_ERROR;
    Error_Handler();
  }
}

void HAL_I2S_ErrorCallback(I2S_HandleTypeDef *hi2s)
{
  if (hi2s->Instance != hi2s2.Instance)
  {
    return;
  }

  if (audio_stream_from_sd)
  {
    audio_sd_ctx.state = AUDIO_SD_STATE_ERROR;
    audio_sd_ctx.last_hal = HAL_ERROR;
    audio_sd_ctx.last_res = FR_INT_ERR;
    audio_sd_dma_done = 1U;
    audio_sd_stop_and_cleanup();
    return;
  }

  audio_ctrl.state = AUDIO_PLAYBACK_STATE_ERROR;
  Error_Handler();
}

/* USER CODE END 4 */

void Error_Handler(void)
{
  __disable_irq();
  while (1)
  {
  }
}
